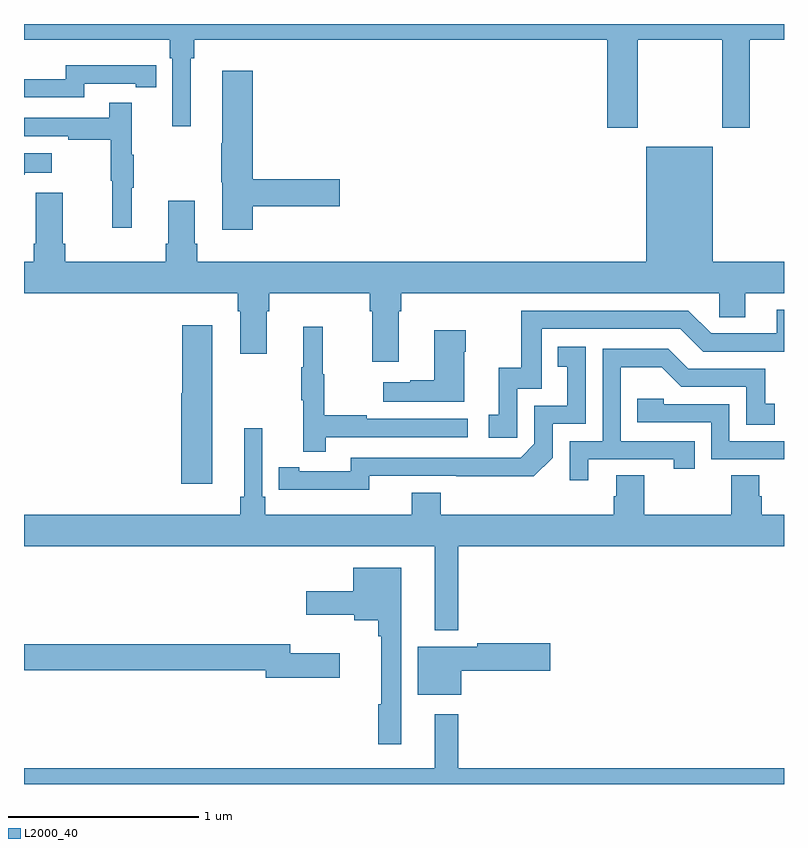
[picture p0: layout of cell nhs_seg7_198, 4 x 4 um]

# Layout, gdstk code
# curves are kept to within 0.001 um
import gdstk
lib = gdstk.Library(unit=1e-6, precision=1e-09)
def P(c, l, *ps):  # polygons
    for p in ps: c.add(gdstk.Polygon(p, *l))
L2000_40 = (2000, 40)

nhs_seg7_198 = lib.new_cell('nhs_seg7_198')
P(nhs_seg7_198, L2000_40, [(128.229,1033.916),(128.674,1033.916),(128.674,1033.455),(128.821,1033.455),(128.821,1033.916),(129,1033.916),(129,1034),(125,1034),(125,1033.916),(125.768,1033.916),(125.768,1033.82),(125.781,1033.82),(125.781,1033.461),(125.878,1033.461),(125.878,1033.82),(125.897,1033.82),(125.897,1033.916),(128.069,1033.916),(128.069,1033.455),(128.229,1033.455)],
  [(125.316,1033.686),(125.588,1033.686),(125.588,1033.666),(125.696,1033.666),(125.696,1033.782),(125.588,1033.782),(125.588,1033.783),(125.22,1033.783),(125.22,1033.71),(125,1033.71),(125,1033.614),(125.316,1033.614)],
  [(126.203,1033.042),(126.661,1033.042),(126.661,1033.184),(126.203,1033.184),(126.203,1033.753),(126.044,1033.753),(126.044,1033.373),(126.037,1033.373),(126.037,1033.167),(126.044,1033.167),(126.044,1032.918),(126.203,1032.918)],
  [(125.567,1033.139),(125.578,1033.139),(125.578,1033.313),(125.567,1033.313),(125.567,1033.585),(125.449,1033.585),(125.449,1033.506),(125,1033.506),(125,1033.41),(125.233,1033.41),(125.233,1033.39),(125.457,1033.39),(125.457,1033.176),(125.464,1033.176),(125.464,1032.927),(125.567,1032.927)],
  [(125.912,1032.844),(125.899,1032.844),(125.899,1033.069),(125.759,1033.069),(125.759,1032.844),(125.747,1032.844),(125.747,1032.748),(125.216,1032.748),(125.216,1032.844),(125.203,1032.844),(125.203,1033.111),(125.063,1033.111),(125.063,1032.844),(125.051,1032.844),(125.051,1032.748),(125,1032.748),(125,1032.584),(126.125,1032.584),(126.125,1032.488),(126.137,1032.488),(126.137,1032.264),(126.277,1032.264),(126.277,1032.488),(126.29,1032.488),(126.29,1032.584),(126.821,1032.584),(126.821,1032.488),(126.833,1032.488),(126.833,1032.222),(126.973,1032.222),(126.973,1032.488),(126.986,1032.488),(126.986,1032.584),(128.658,1032.584),(128.658,1032.457),(128.797,1032.457),(128.797,1032.584),(129,1032.584),(129,1032.748),(128.626,1032.748),(128.626,1033.354),(128.276,1033.354),(128.276,1032.748),(125.912,1032.748)],
  [(125.003,1033.217),(125.146,1033.217),(125.146,1033.321),(125,1033.321),(125,1033.207),(125.003,1033.207)],
  [(127.596,1032.081),(127.725,1032.081),(127.725,1032.396),(128.454,1032.396),(128.574,1032.276),(129,1032.276),(129,1032.495),(128.963,1032.495),(128.963,1032.372),(128.616,1032.372),(128.496,1032.492),(127.617,1032.492),(127.617,1032.19),(127.499,1032.19),(127.499,1031.943),(127.446,1031.943),(127.446,1031.823),(127.596,1031.823)],
  [(125.992,1032.415),(125.834,1032.415),(125.834,1032.057),(125.828,1032.057),(125.828,1031.58),(125.992,1031.58)],
  [(126.587,1031.826),(127.336,1031.826),(127.336,1031.922),(126.803,1031.922),(126.803,1031.942),(126.58,1031.942),(126.58,1032.156),(126.572,1032.156),(126.572,1032.406),(126.47,1032.406),(126.47,1032.193),(126.459,1032.193),(126.459,1032.019),(126.47,1032.019),(126.47,1031.748),(126.587,1031.748)],
  [(127.318,1032.275),(127.326,1032.275),(127.326,1032.388),(127.16,1032.388),(127.16,1032.125),(127.034,1032.125),(127.034,1032.115),(126.891,1032.115),(126.891,1032.011),(127.318,1032.011)],
  [(126.816,1031.622),(127.684,1031.621),(127.782,1031.718),(127.782,1031.895),(127.956,1031.895),(127.956,1032.301),(127.81,1032.301),(127.81,1032.195),(127.859,1032.195),(127.859,1031.991),(127.686,1031.991),(127.686,1031.79),(127.614,1031.718),(126.72,1031.718),(126.72,1031.646),(126.448,1031.646),(126.448,1031.666),(126.34,1031.666),(126.34,1031.55),(126.816,1031.549)],
  [(127.969,1031.709),(128.42,1031.709),(128.42,1031.658),(128.531,1031.658),(128.531,1031.805),(128.142,1031.805),(128.142,1032.194),(128.356,1032.194),(128.46,1032.09),(128.802,1032.09),(128.802,1031.892),(128.95,1031.892),(128.95,1032.001),(128.901,1032.001),(128.901,1032.186),(128.497,1032.186),(128.392,1032.291),(128.046,1032.291),(128.046,1031.805),(127.872,1031.805),(127.872,1031.598),(127.969,1031.598)],
  [(129,1031.805),(128.712,1031.805),(128.712,1032),(128.367,1032),(128.367,1032.027),(128.227,1032.027),(128.227,1031.904),(128.616,1031.904),(128.616,1031.709),(129,1031.709)],
  [(127.285,1031.252),(129,1031.252),(129,1031.416),(128.882,1031.416),(128.882,1031.514),(128.869,1031.514),(128.869,1031.624),(128.722,1031.624),(128.722,1031.416),(128.265,1031.416),(128.265,1031.624),(128.117,1031.624),(128.117,1031.514),(128.105,1031.514),(128.105,1031.416),(127.193,1031.416),(127.193,1031.533),(127.04,1031.533),(127.04,1031.416),(126.269,1031.416),(126.269,1031.512),(126.255,1031.512),(126.255,1031.872),(126.158,1031.872),(126.158,1031.512),(126.139,1031.512),(126.139,1031.416),(125,1031.416),(125,1031.252),(127.163,1031.252),(127.163,1030.808),(127.285,1030.808)],
  [(126.985,1031.137),(126.734,1031.137),(126.734,1031.014),(126.486,1031.014),(126.486,1030.892),(126.738,1030.892),(126.738,1030.862),(126.864,1030.862),(126.864,1030.778),(126.881,1030.778),(126.881,1030.421),(126.864,1030.421),(126.864,1030.209),(126.985,1030.209)],
  [(127.3,1030.595),(127.771,1030.595),(127.771,1030.742),(127.386,1030.742),(127.386,1030.723),(127.073,1030.723),(127.073,1030.469),(127.3,1030.469)],
  [(126.661,1030.687),(126.4,1030.687),(126.4,1030.736),(125,1030.736),(125,1030.6),(126.272,1030.6),(126.272,1030.558),(126.661,1030.558)],
  [(127.163,1030.366),(127.163,1030.084),(125,1030.084),(125,1030),(129,1030),(129,1030.084),(127.285,1030.084),(127.285,1030.366)])

lib.write_gds('nhs_seg7_198.gds')
